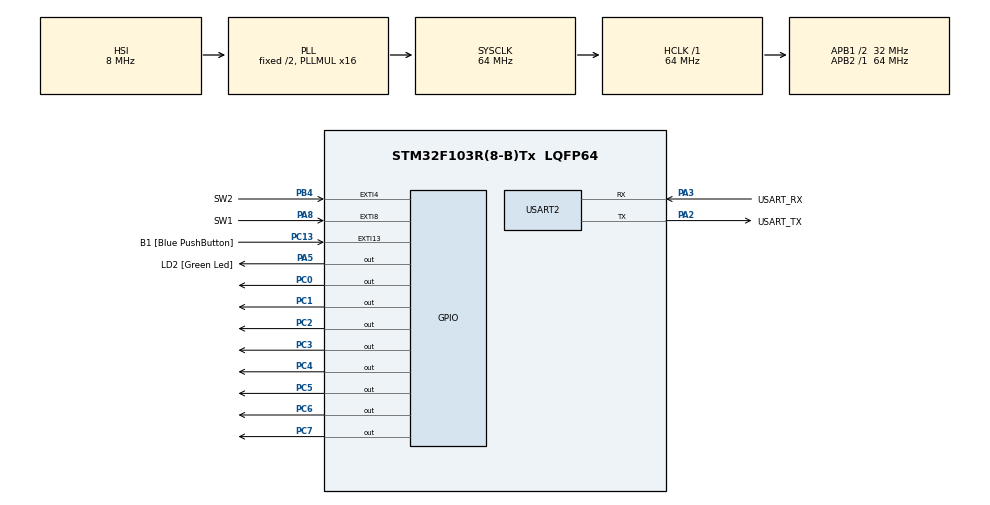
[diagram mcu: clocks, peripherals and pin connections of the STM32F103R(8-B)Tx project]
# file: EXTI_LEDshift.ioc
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Mcu.Family=STM32F1
Mcu.Name=STM32F103R(8-B)Tx
Mcu.Package=LQFP64
NVIC.EXTI15_10_IRQn=true\:0\:0\:false\:false\:true\:true\:true\:true
NVIC.EXTI4_IRQn=true\:0\:0\:false\:false\:true\:true\:true\:true
NVIC.EXTI9_5_IRQn=true\:0\:0\:false\:false\:true\:true\:true\:true
NVIC.PriorityGroup=NVIC_PRIORITYGROUP_4
PA13.GPIO_Label=TMS
PA13.Mode=Serial_Wire
PA13.Signal=SYS_JTMS-SWDIO
PA14.GPIO_Label=TCK
PA14.Mode=Serial_Wire
PA14.Signal=SYS_JTCK-SWCLK
PA2.GPIO_Label=USART_TX
PA2.GPIO_Mode=GPIO_MODE_AF_PP
PA2.GPIO_PuPd=GPIO_NOPULL
PA2.GPIO_Speed=GPIO_SPEED_FREQ_LOW
PA2.Mode=Asynchronous
PA2.Signal=USART2_TX
PA3.GPIO_Label=USART_RX
PA3.GPIO_Mode=GPIO_MODE_AF_PP
PA3.GPIO_PuPd=GPIO_NOPULL
PA3.GPIO_Speed=GPIO_SPEED_FREQ_LOW
PA3.Mode=Asynchronous
PA3.Signal=USART2_RX
PA5.GPIO_Label=LD2 [Green Led]
PA5.GPIO_ModeDefaultOutputPP=GPIO_MODE_OUTPUT_PP
PA5.GPIO_PuPd=GPIO_NOPULL
PA5.GPIO_Speed=GPIO_SPEED_FREQ_LOW
PA5.Signal=GPIO_Output
PA8.GPIO_Label=SW1
PA8.GPIO_ModeDefaultEXTI=GPIO_MODE_IT_FALLING
PA8.Signal=GPXTI8
PB3.GPIO_Label=SWO
PB3.Signal=SYS_JTDO-TRACESWO
PB4.GPIO_Label=SW2
PB4.GPIO_ModeDefaultEXTI=GPIO_MODE_IT_FALLING
PB4.Signal=GPXTI4
PC0.Signal=GPIO_Output
PC1.Signal=GPIO_Output
PC13-TAMPER-RTC.GPIO_Label=B1 [Blue PushButton]
PC13-TAMPER-RTC.GPIO_PuPd=GPIO_NOPULL
PC13-TAMPER-RTC.Signal=GPXTI13
PC14-OSC32_IN.Mode=LSE-External-Oscillator
PC14-OSC32_IN.Signal=RCC_OSC32_IN
PC15-OSC32_OUT.Mode=LSE-External-Oscillator
PC15-OSC32_OUT.Signal=RCC_OSC32_OUT
PC2.Signal=GPIO_Output
PC3.Signal=GPIO_Output
PC4.Signal=GPIO_Output
PC5.Signal=GPIO_Output
PC6.Signal=GPIO_Output
PC7.Signal=GPIO_Output
PD0-OSC_IN.Mode=HSE-External-Clock-Source
PD0-OSC_IN.Signal=RCC_OSC_IN
PD1-OSC_OUT.Mode=HSE-External-Clock-Source
PD1-OSC_OUT.Signal=RCC_OSC_OUT
ProjectManager.HeapSize=0x200
ProjectManager.StackSize=0x400
ProjectManager.TargetToolchain=STM32CubeIDE
RCC.AHBFreq_Value=64000000
RCC.APB1CLKDivider=RCC_HCLK_DIV2
RCC.APB1Freq_Value=32000000
RCC.APB1TimFreq_Value=64000000
RCC.APB2Freq_Value=64000000
RCC.APB2TimFreq_Value=64000000
RCC.HCLKFreq_Value=64000000
RCC.PLLMUL=RCC_PLL_MUL16
RCC.RTCClockSelection=RCC_RTCCLKSOURCE_LSE
RCC.SYSCLKFreq_VALUE=64000000
RCC.SYSCLKSource=RCC_SYSCLKSOURCE_PLLCLK
RCC.USBFreq_Value=64000000
USART2.VirtualMode=VM_ASYNC
board=NUCLEO-F103RB

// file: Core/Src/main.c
/* USER CODE BEGIN Header */
/**
 ******************************************************************************
 * @file           : main.c
 * @brief          : Main program body
 ******************************************************************************
 * @attention
 *
 * Copyright (c) 2022 STMicroelectronics.
 * All rights reserved.
 *
 * This software is licensed under terms that can be found in the LICENSE file
 * in the root directory of this software component.
 * If no LICENSE file comes with this software, it is provided AS-IS.
 *
 ******************************************************************************
 */
/* USER CODE END Header */
#include "main.h"

UART_HandleTypeDef huart2;

/* USER CODE BEGIN PV */
uint8_t flag_SW1 = 0;
uint8_t flag_SW2 = 0;
uint8_t flag_B1 = 0;
/* USER CODE END PV */

void SystemClock_Config(void);
static void MX_GPIO_Init(void);
static void MX_USART2_UART_Init(void);

int main(void) {

	/* MCU Configuration--------------------------------------------------------*/

	/* Reset of all peripherals, Initializes the Flash interface and the Systick. */
	HAL_Init();

	/* Configure the system clock */
	SystemClock_Config();

	/* Initialize all configured peripherals */
	MX_GPIO_Init();
	MX_USART2_UART_Init();
	/* USER CODE BEGIN 2 */
	HAL_GPIO_WritePin(GPIOC, GPIO_PIN_All, GPIO_PIN_SET);
	HAL_Delay(1000);
	HAL_GPIO_WritePin(GPIOC, GPIO_PIN_All, GPIO_PIN_RESET);
	/* USER CODE END 2 */

	/* Infinite loop */
	/* USER CODE BEGIN WHILE */
	uint16_t pin = GPIO_PIN_0;
	while (1) {
		if (flag_SW1 == 1) {
			HAL_GPIO_WritePin(GPIOC, pin, GPIO_PIN_SET);
			HAL_Delay(300);
			HAL_GPIO_WritePin(GPIOC, pin, GPIO_PIN_RESET);
			pin <<= 1;
			if (pin > 0x80)
				pin = 0x01;
		} else if (flag_SW2 == 1) {
			pin >>= 1;
			if (pin < 0x01)
				pin = 0x80;
			HAL_GPIO_WritePin(GPIOC, pin, GPIO_PIN_SET);
			HAL_Delay(300);
			HAL_GPIO_WritePin(GPIOC, pin, GPIO_PIN_RESET);
		} else if(flag_B1 == 1){
			HAL_GPIO_WritePin(GPIOC, GPIO_PIN_All, GPIO_PIN_RESET);
		}
		/* USER CODE END WHILE */

	}
}

void SystemClock_Config(void) {
	RCC_OscInitTypeDef RCC_OscInitStruct = { 0 };
	RCC_ClkInitTypeDef RCC_ClkInitStruct = { 0 };

	/** Initializes the RCC Oscillators according to the specified parameters
	 * in the RCC_OscInitTypeDef structure.
	 */
	RCC_OscInitStruct.OscillatorType = RCC_OSCILLATORTYPE_HSI;
	RCC_OscInitStruct.HSIState = RCC_HSI_ON;
	RCC_OscInitStruct.HSICalibrationValue = RCC_HSICALIBRATION_DEFAULT;
	RCC_OscInitStruct.PLL.PLLState = RCC_PLL_ON;
	RCC_OscInitStruct.PLL.PLLSource = RCC_PLLSOURCE_HSI_DIV2;
	RCC_OscInitStruct.PLL.PLLMUL = RCC_PLL_MUL16;
	if (HAL_RCC_OscConfig(&RCC_OscInitStruct) != HAL_OK) {
		Error_Handler();
	}

	/** Initializes the CPU, AHB and APB buses clocks
	 */
	RCC_ClkInitStruct.ClockType = RCC_CLOCKTYPE_HCLK | RCC_CLOCKTYPE_SYSCLK
			| RCC_CLOCKTYPE_PCLK1 | RCC_CLOCKTYPE_PCLK2;
	RCC_ClkInitStruct.SYSCLKSource = RCC_SYSCLKSOURCE_PLLCLK;
	RCC_ClkInitStruct.AHBCLKDivider = RCC_SYSCLK_DIV1;
	RCC_ClkInitStruct.APB1CLKDivider = RCC_HCLK_DIV2;
	RCC_ClkInitStruct.APB2CLKDivider = RCC_HCLK_DIV1;

	if (HAL_RCC_ClockConfig(&RCC_ClkInitStruct, FLASH_LATENCY_2) != HAL_OK) {
		Error_Handler();
	}
}

static void MX_USART2_UART_Init(void) {

	huart2.Instance = USART2;
	huart2.Init.BaudRate = 115200;
	huart2.Init.WordLength = UART_WORDLENGTH_8B;
	huart2.Init.StopBits = UART_STOPBITS_1;
	huart2.Init.Parity = UART_PARITY_NONE;
	huart2.Init.Mode = UART_MODE_TX_RX;
	huart2.Init.HwFlowCtl = UART_HWCONTROL_NONE;
	huart2.Init.OverSampling = UART_OVERSAMPLING_16;
	if (HAL_UART_Init(&huart2) != HAL_OK) {
		Error_Handler();
	}

}

static void MX_GPIO_Init(void) {
	GPIO_InitTypeDef GPIO_InitStruct = { 0 };

	/* GPIO Ports Clock Enable */
	__HAL_RCC_GPIOC_CLK_ENABLE();
	__HAL_RCC_GPIOD_CLK_ENABLE();
	__HAL_RCC_GPIOA_CLK_ENABLE();
	__HAL_RCC_GPIOB_CLK_ENABLE();

	/*Configure GPIO pin Output Level */
	HAL_GPIO_WritePin(GPIOC,
			GPIO_PIN_0 | GPIO_PIN_1 | GPIO_PIN_2 | GPIO_PIN_3 | GPIO_PIN_4
					| GPIO_PIN_5 | GPIO_PIN_6 | GPIO_PIN_7, GPIO_PIN_RESET);

	/*Configure GPIO pin Output Level */
	HAL_GPIO_WritePin(LD2_GPIO_Port, LD2_Pin, GPIO_PIN_RESET);

	/*Configure GPIO pin : B1_Pin */
	GPIO_InitStruct.Pin = B1_Pin;
	GPIO_InitStruct.Mode = GPIO_MODE_IT_RISING;
	GPIO_InitStruct.Pull = GPIO_NOPULL;
	HAL_GPIO_Init(B1_GPIO_Port, &GPIO_InitStruct);

	/*Configure GPIO pins : PC0 PC1 PC2 PC3
	 PC4 PC5 PC6 PC7 */
	GPIO_InitStruct.Pin = GPIO_PIN_0 | GPIO_PIN_1 | GPIO_PIN_2 | GPIO_PIN_3
			| GPIO_PIN_4 | GPIO_PIN_5 | GPIO_PIN_6 | GPIO_PIN_7;
	GPIO_InitStruct.Mode = GPIO_MODE_OUTPUT_PP;
	GPIO_InitStruct.Pull = GPIO_NOPULL;
	GPIO_InitStruct.Speed = GPIO_SPEED_FREQ_LOW;
	HAL_GPIO_Init(GPIOC, &GPIO_InitStruct);

	/*Configure GPIO pin : LD2_Pin */
	GPIO_InitStruct.Pin = LD2_Pin;
	GPIO_InitStruct.Mode = GPIO_MODE_OUTPUT_PP;
	GPIO_InitStruct.Pull = GPIO_NOPULL;
	GPIO_InitStruct.Speed = GPIO_SPEED_FREQ_LOW;
	HAL_GPIO_Init(LD2_GPIO_Port, &GPIO_InitStruct);

	/*Configure GPIO pin : SW1_Pin */
	GPIO_InitStruct.Pin = SW1_Pin;
	GPIO_InitStruct.Mode = GPIO_MODE_IT_FALLING;
	GPIO_InitStruct.Pull = GPIO_NOPULL;
	HAL_GPIO_Init(SW1_GPIO_Port, &GPIO_InitStruct);

	/*Configure GPIO pin : SW2_Pin */
	GPIO_InitStruct.Pin = SW2_Pin;
	GPIO_InitStruct.Mode = GPIO_MODE_IT_FALLING;
	GPIO_InitStruct.Pull = GPIO_NOPULL;
	HAL_GPIO_Init(SW2_GPIO_Port, &GPIO_InitStruct);

	/* EXTI interrupt init*/
	HAL_NVIC_SetPriority(EXTI4_IRQn, 0, 0);
	HAL_NVIC_EnableIRQ(EXTI4_IRQn);

	HAL_NVIC_SetPriority(EXTI9_5_IRQn, 0, 0);
	HAL_NVIC_EnableIRQ(EXTI9_5_IRQn);

	HAL_NVIC_SetPriority(EXTI15_10_IRQn, 0, 0);
	HAL_NVIC_EnableIRQ(EXTI15_10_IRQn);

}

/* USER CODE BEGIN 4 */
void HAL_GPIO_EXTI_Callback(uint16_t GPIO_Pin) {
	if (GPIO_Pin == SW1_Pin) {
		flag_SW1 = 1;
		flag_SW2 = 0;
		flag_B1 = 0;
	}
	if (GPIO_Pin == SW2_Pin) {
		flag_SW1 = 0;
		flag_SW2 = 1;
		flag_B1 = 0;
	}
	if(GPIO_Pin == B1_Pin){
		flag_SW1 = 0;
		flag_SW2 = 0;
		flag_B1 = 1;
	}
}
/* USER CODE END 4 */

void Error_Handler(void) {
	__disable_irq();
	while (1) {
	}
}
